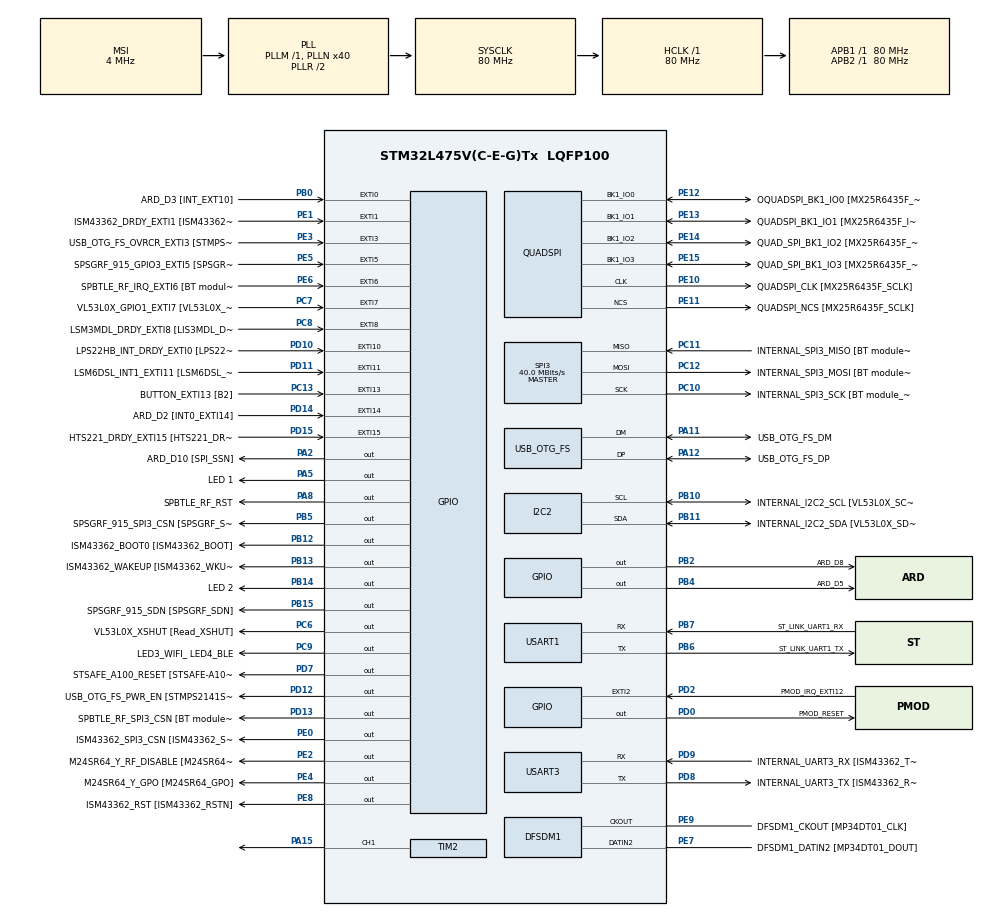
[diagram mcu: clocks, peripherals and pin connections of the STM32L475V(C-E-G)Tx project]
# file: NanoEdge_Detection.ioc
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Dma.Request0=TIM2_CH1
Dma.TIM2_CH1.0.Direction=DMA_MEMORY_TO_PERIPH
Dma.TIM2_CH1.0.Instance=DMA1_Channel5
Dma.TIM2_CH1.0.MemDataAlignment=DMA_MDATAALIGN_WORD
Dma.TIM2_CH1.0.MemInc=DMA_MINC_ENABLE
Dma.TIM2_CH1.0.Mode=DMA_NORMAL
Dma.TIM2_CH1.0.PeriphDataAlignment=DMA_PDATAALIGN_WORD
Dma.TIM2_CH1.0.PeriphInc=DMA_PINC_DISABLE
Dma.TIM2_CH1.0.Priority=DMA_PRIORITY_LOW
I2C2.Timing=0x10D19CE4
Mcu.Family=STM32L4
Mcu.Name=STM32L475V(C-E-G)Tx
Mcu.Package=LQFP100
NVIC.DMA1_Channel5_IRQn=true\:0\:0\:false\:false\:true\:false\:true\:true
NVIC.EXTI15_10_IRQn=true\:0\:0\:false\:false\:true\:true\:true\:true
NVIC.EXTI9_5_IRQn=true\:0\:0\:false\:false\:true\:true\:true\:true
NVIC.PriorityGroup=NVIC_PRIORITYGROUP_4
PA0.GPIO_Label=ARD_D1 [UART4_TX]
PA0.Signal=UART4_TX
PA1.GPIO_Label=ARD_D0 [UART4_RX]
PA1.Signal=UART4_RX
PA10.GPIO_Label=USB_OTG_FS_ID
PA10.Signal=USB_OTG_FS_ID
PA11.GPIO_Label=USB_OTG_FS_DM
PA11.Mode=Device_Only
PA11.Signal=USB_OTG_FS_DM
PA12.GPIO_Label=USB_OTG_FS_DP
PA12.Mode=Device_Only
PA12.Signal=USB_OTG_FS_DP
PA13\ (JTMS-SWDIO).GPIO_Label=SYS_JTMS_SWDIO
PA13\ (JTMS-SWDIO).Mode=Serial_Wire
PA13\ (JTMS-SWDIO).Signal=SYS_JTMS-SWDIO
PA14\ (JTCK-SWCLK).GPIO_Label=SYS_JTCK_SWCLK
PA14\ (JTCK-SWCLK).Mode=Serial_Wire
PA14\ (JTCK-SWCLK).Signal=SYS_JTCK-SWCLK
PA15\ (JTDI).Signal=S_TIM2_CH1
PA2.GPIO_Label=ARD_D10 [SPI_SSN]
PA2.Signal=GPIO_Output
PA3.GPIO_Label=ARD_D4
PA3.Signal=S_TIM2_CH4
PA4.GPIO_Label=ARD_D7
PA4.Signal=ADCx_IN9
PA5.GPIO_Label=LED 1
PA5.Signal=GPIO_Output
PA6.GPIO_Label=ARD_D12 [SPI1_MISO]
PA6.Signal=SPI1_MISO
PA7.GPIO_Label=ARD_D11 [SPI1_MOSI]
PA7.Signal=SPI1_MOSI
PA8.GPIO_Label=SPBTLE_RF_RST
PA8.Signal=GPIO_Output
PA9.GPIO_Label=USB_OTG_FS_VBUS [STMPS2141STR_OUT]
PA9.Signal=USB_OTG_FS_VBUS
PB0.GPIO_Label=ARD_D3 [INT_EXT10]
PB0.Signal=GPXTI0
PB1.GPIO_Label=ARD_D6 [ADC1_IN6]
PB1.Signal=ADCx_IN16
PB10.GPIO_Label=INTERNAL_I2C2_SCL [VL53L0X_SCL]
PB10.GPIO_Pu=GPIO_PULLUP
PB10.Mode=I2C
PB10.Signal=I2C2_SCL
PB11.GPIO_Label=INTERNAL_I2C2_SDA [VL53L0X_SDA]
PB11.GPIO_Pu=GPIO_PULLUP
PB11.Mode=I2C
PB11.Signal=I2C2_SDA
PB12.GPIO_Label=ISM43362_BOOT0 [ISM43362_BOOT]
PB12.Signal=GPIO_Output
PB13.GPIO_Label=ISM43362_WAKEUP [ISM43362_WKUP]
PB13.Signal=GPIO_Output
PB14.GPIO_Label=LED 2
PB14.Signal=GPIO_Output
PB15.GPIO_Label=SPSGRF_915_SDN [SPSGRF_SDN]
PB15.Signal=GPIO_Output
PB2.GPIO_Label=ARD_D8
PB2.Signal=GPIO_Output
PB3\ (JTDO-TRACESWO).GPIO_Label=SYS_JTD0_SWO
PB3\ (JTDO-TRACESWO).Signal=SYS_JTDO-SWO
PB4\ (NJTRST).GPIO_Label=ARD_D5
PB4\ (NJTRST).Signal=GPIO_Output
PB5.GPIO_Label=SPSGRF_915_SPI3_CSN [SPSGRF_SPI_CS]
PB5.PinState=GPIO_PIN_SET
PB5.Signal=GPIO_Output
PB6.GPIO_Label=ST_LINK_UART1_TX
PB6.Mode=Asynchronous
PB6.Signal=USART1_TX
PB7.GPIO_Label=ST_LINK_UART1_RX
PB7.Mode=Asynchronous
PB7.Signal=USART1_RX
PB8.GPIO_Label=ARD_D15 [I2C1_SCL]
PB8.Signal=I2C1_SCL
PB9.GPIO_Label=ARD_D14 [I2C1_SDA]
PB9.Signal=I2C1_SDA
PC0.GPIO_Label=ARD_A5 [ADC]
PC0.Signal=ADCx_IN1
PC1.GPIO_Label=ARD_A4 [ADC]
PC1.Signal=ADCx_IN2
PC10.GPIO_Label=INTERNAL_SPI3_SCK [BT module_SPI_SCLK] [ISM43362_SCK]
PC10.Mode=Full_Duplex_Master
PC10.Signal=SPI3_SCK
PC11.GPIO_Label=INTERNAL_SPI3_MISO [BT module_SPI_MISO] [ISM43362_MISO]
PC11.Mode=Full_Duplex_Master
PC11.Signal=SPI3_MISO
PC12.GPIO_Label=INTERNAL_SPI3_MOSI [BT module_SPI_MOSI] [ISM43362_MOSI]
PC12.Mode=Full_Duplex_Master
PC12.Signal=SPI3_MOSI
PC13.GPIO_Label=BUTTON_EXTI13 [B2]
PC13.GPIO_ModeDefaultEXTI=GPIO_MODE_IT_FALLING
PC13.Signal=GPXTI13
PC14-OSC32_IN\ (PC14).Mode=LSE-External-Oscillator
PC14-OSC32_IN\ (PC14).Signal=RCC_OSC32_IN
PC15-OSC32_OUT\ (PC15).Mode=LSE-External-Oscillator
PC15-OSC32_OUT\ (PC15).Signal=RCC_OSC32_OUT
PC2.GPIO_Label=ARD_A3 [ADC]
PC2.Signal=ADCx_IN3
PC3.GPIO_Label=ARD_A2 [ADC]
PC3.Signal=ADCx_IN4
PC4.GPIO_Label=ARD_A1 [ADC]
PC4.Signal=ADCx_IN13
PC5.GPIO_Label=ARD_A0 [ADC]
PC5.Signal=ADCx_IN14
PC6.GPIO_Label=VL53L0X_XSHUT [Read_XSHUT]
PC6.Signal=GPIO_Output
PC7.GPIO_Label=VL53L0X_GPIO1_EXTI7 [VL53L0X_GPIO1]
PC7.Signal=GPXTI7
PC8.GPIO_Label=LSM3MDL_DRDY_EXTI8 [LIS3MDL_DRDY]
PC8.Signal=GPXTI8
PC9.GPIO_Label=LED3_WIFI_ LED4_BLE
PC9.Signal=GPIO_Output
PD0.GPIO_Label=PMOD_RESET
PD0.Signal=GPIO_Output
PD1.GPIO_Label=PMOD_SPI2_SCK
PD1.Signal=SPI2_SCK
PD10.GPIO_Label=LPS22HB_INT_DRDY_EXTI0 [LPS22HB_INT_DRDY] 
PD10.Signal=GPXTI10
PD11.GPIO_Label=LSM6DSL_INT1_EXTI11 [LSM6DSL_INT1]
PD11.Signal=GPXTI11
PD12.GPIO_Label=USB_OTG_FS_PWR_EN [STMPS2141STR_EN]
PD12.Signal=GPIO_Output
PD13.GPIO_Label=SPBTLE_RF_SPI3_CSN [BT module_SPI_CS]
PD13.PinState=GPIO_PIN_SET
PD13.Signal=GPIO_Output
PD14.GPIO_Label=ARD_D2 [INT0_EXTI14]
PD14.Signal=GPXTI14
PD15.GPIO_Label=HTS221_DRDY_EXTI15 [HTS221_DRDY]
PD15.Signal=GPXTI15
PD2.GPIO_Label=PMOD_IRQ_EXTI12
PD2.Signal=GPXTI2
PD3.GPIO_Label=PMOD_UART2_CTS
PD3.Signal=USART2_CTS
PD4.GPIO_Label=PMOD_UART2_RTS
PD4.Signal=USART2_RTS
PD5.GPIO_Label=PMOD_UART2_TX
PD5.Signal=USART2_TX
PD6.GPIO_Label=PMOD_UART2_RX
PD6.Signal=USART2_RX
PD7.GPIO_Label=STSAFE_A100_RESET [STSAFE-A100_RESET]
PD7.Signal=GPIO_Output
PD8.GPIO_Label=INTERNAL_UART3_TX [ISM43362_RX]
PD8.Mode=Asynchronous
PD8.Signal=USART3_TX
PD9.GPIO_Label=INTERNAL_UART3_RX [ISM43362_TX]
PD9.Mode=Asynchronous
PD9.Signal=USART3_RX
PE0.GPIO_Label=ISM43362_SPI3_CSN [ISM43362_SSN]
PE0.PinState=GPIO_PIN_SET
PE0.Signal=GPIO_Output
PE1.GPIO_Label=ISM43362_DRDY_EXTI1 [ISM43362_DATARDY]
PE1.Signal=GPXTI1
PE10.GPIO_Label=QUADSPI_CLK [MX25R6435F_SCLK]
PE10.Mode=Single Bank
PE10.Signal=QUADSPI_CLK
PE11.GPIO_Label=QUADSPI_NCS [MX25R6435F_SCLK]
PE11.Mode=Single Bank
PE11.Signal=QUADSPI_NCS
PE12.GPIO_Label=OQUADSPI_BK1_IO0 [MX25R6435F_IO0]
PE12.Mode=Single Bank
PE12.Signal=QUADSPI_BK1_IO0
PE13.GPIO_Label=QUADSPI_BK1_IO1 [MX25R6435F_IO1]
PE13.Mode=Single Bank
PE13.Signal=QUADSPI_BK1_IO1
PE14.GPIO_Label=QUAD_SPI_BK1_IO2 [MX25R6435F_IO2]
PE14.Mode=Single Bank
PE14.Signal=QUADSPI_BK1_IO2
PE15.GPIO_Label=QUAD_SPI_BK1_IO3 [MX25R6435F_IO3]
PE15.Mode=Single Bank
PE15.Signal=QUADSPI_BK1_IO3
PE2.GPIO_Label=M24SR64_Y_RF_DISABLE [M24SR64_RFDIS]
PE2.Signal=GPIO_Output
PE3.GPIO_Label=USB_OTG_FS_OVRCR_EXTI3 [STMPS2141STR_FAULT]
PE3.Signal=GPXTI3
PE4.GPIO_Label=M24SR64_Y_GPO [M24SR64_GPO]
PE4.Signal=GPIO_Output
PE5.GPIO_Label=SPSGRF_915_GPIO3_EXTI5 [SPSGRF_GPIO_3]
PE5.Signal=GPXTI5
PE6.GPIO_Label=SPBTLE_RF_IRQ_EXTI6 [BT module_SPI_IRQ]
PE6.Signal=GPXTI6
PE7.GPIO_Label=DFSDM1_DATIN2 [MP34DT01_DOUT]
PE7.Signal=S_DATAIN2DFSDM1
PE8.GPIO_Label=ISM43362_RST [ISM43362_RSTN]
PE8.Signal=GPIO_Output
PE9.GPIO_Label=DFSDM1_CKOUT [MP34DT01_CLK]
PE9.Signal=S_CKOUTDFSDM1
ProjectManager.HeapSize=0x200
ProjectManager.StackSize=0x400
ProjectManager.TargetToolchain=STM32CubeIDE
QUADSPI.ClockPrescaler=2
QUADSPI.FifoThreshold=4
QUADSPI.FlashSize=23
QUADSPI.SampleShifting=QSPI_SAMPLE_SHIFTING_HALFCYCLE
RCC.ADCFreq_Value=48000000
RCC.AHBFreq_Value=80000000
RCC.APB1Freq_Value=80000000
RCC.APB1TimFreq_Value=80000000
RCC.APB2Freq_Value=80000000
RCC.APB2TimFreq_Value=80000000
RCC.CortexFreq_Value=80000000
RCC.HCLKFreq_Value=80000000
RCC.HSE_VALUE=8000000
RCC.HSI_VALUE=16000000
RCC.MSI_VALUE=4000000
RCC.PLLN=40
RCC.PLLSAI1N=24
RCC.SYSCLKFreq_VALUE=80000000
RCC.SYSCLKSource=RCC_SYSCLKSOURCE_PLLCLK
RCC.USBFreq_Value=48000000
RCC.VCOOutputFreq_Value=160000000
SH.ADCx_IN1.0=ADC1_IN1
SH.ADCx_IN13.0=ADC1_IN13
SH.ADCx_IN14.0=ADC1_IN14
SH.ADCx_IN16.0=ADC1_IN16
SH.ADCx_IN2.0=ADC1_IN2
SH.ADCx_IN3.0=ADC1_IN3
SH.ADCx_IN4.0=ADC1_IN4
SH.ADCx_IN9.0=ADC1_IN9
SH.S_CKOUTDFSDM1.0=DFSDM1_CKOUT,CKOUT
SH.S_CKOUTDFSDM1.1=DFSDM1_CKOUT,PDM_SPI_Input_from_ch12_and_Internal_Clock
SH.S_DATAIN2DFSDM1.0=DFSDM1_DATIN2,PDM_SPI_Input_from_ch12_and_Internal_Clock
SH.S_TIM2_CH1.0=TIM2_CH1,PWM Generation1 CH1
SH.S_TIM2_CH4.0=TIM2_CH4
SPI3.CalculateBaudRate=40.0 MBits/s
SPI3.Direction=SPI_DIRECTION_2LINES
SPI3.Mode=SPI_MODE_MASTER
SPI3.VirtualType=VM_MASTER
TIM2.Channel-PWM\ Generation1\ CH1=TIM_CHANNEL_1
TIM2.Period=100
USART1.VirtualMode-Asynchronous=VM_ASYNC
USART3.VirtualMode-Asynchronous=VM_ASYNC
USB_OTG_FS.VirtualMode=Device_Only
board=B-L475E-IOT01A1

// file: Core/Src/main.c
/* USER CODE BEGIN Header */
/**
  ******************************************************************************
  * @file           : main.c
  * @brief          : Main program body
  ******************************************************************************
  * @attention
  *
  * Copyright (c) 2025 STMicroelectronics.
  * All rights reserved.
  *
  * This software is licensed under terms that can be found in the LICENSE file
  * in the root directory of this software component.
  * If no LICENSE file comes with this software, it is provided AS-IS.
  *
  ******************************************************************************
  */
/* USER CODE END Header */
#include "main.h"

/* USER CODE BEGIN Includes */
#include <string.h>
#include <stdio.h>
#include "LSM6DSL.h"
#include "NanoEdgeAI.h"
#include "WS2812.h"
/* USER CODE END Includes */

DFSDM_Channel_HandleTypeDef hdfsdm1_channel1;

I2C_HandleTypeDef hi2c2;

QSPI_HandleTypeDef hqspi;

SPI_HandleTypeDef hspi3;

TIM_HandleTypeDef htim2;
DMA_HandleTypeDef hdma_tim2_ch1;

UART_HandleTypeDef huart1;
UART_HandleTypeDef huart3;

PCD_HandleTypeDef hpcd_USB_OTG_FS;

void SystemClock_Config(void);
static void MX_GPIO_Init(void);
static void MX_DMA_Init(void);
static void MX_DFSDM1_Init(void);
static void MX_I2C2_Init(void);
static void MX_QUADSPI_Init(void);
static void MX_SPI3_Init(void);
static void MX_USART1_UART_Init(void);
static void MX_USART3_UART_Init(void);
static void MX_USB_OTG_FS_PCD_Init(void);
static void MX_TIM2_Init(void);

/* USER CODE BEGIN 0 */
#define LEARNING_ITERATIONS 20
float input_user_buffer[DATA_INPUT_USER * AXIS_NUMBER];

void fill_buffer(float input_buffer[]){
	uint16_t  i;
	for(i=0; i< DATA_INPUT_USER; i++){
		while(!LSM6DSL_DataReady());

		LSM6DSL_ReadAccel(&input_buffer[AXIS_NUMBER * i]);
	}
}
/* USER CODE END 0 */

int main(void)
{

  /* MCU Configuration--------------------------------------------------------*/

  /* Reset of all peripherals, Initializes the Flash interface and the Systick. */
  HAL_Init();

  /* Configure the system clock */
  SystemClock_Config();

  /* Initialize all configured peripherals */
  MX_GPIO_Init();
  MX_DMA_Init();
  MX_DFSDM1_Init();
  MX_I2C2_Init();
  MX_QUADSPI_Init();
  MX_SPI3_Init();
  MX_USART1_UART_Init();
  MX_USART3_UART_Init();
  MX_USB_OTG_FS_PCD_Init();
  MX_TIM2_Init();
  /* USER CODE BEGIN 2 */
  LSM6DSL_Init();

  /* Initialization ------------------------------------------------------------*/
  	enum neai_state error_code = neai_anomalydetection_init();
  	uint8_t similarity = 0;

  	if (error_code != NEAI_OK) {
  		/* This happens if the library works into a not supported board. */
  	}

  	WS2812_Clear_LED();

  	WS2812_Update();

  	/* Learning process ----------------------------------------------------------*/
  	for (uint16_t iteration = 0 ; iteration < LEARNING_ITERATIONS ; iteration++) {
  		fill_buffer(input_user_buffer);
  		neai_anomalydetection_learn(input_user_buffer);

  	  	WS2812_Clear_LED();
  	  	WS2812_Set_LED(iteration%6, 0, 0, 255);
  	  	WS2812_Update();
  	}

  /* USER CODE END 2 */

  /* Infinite loop */
  while (1)
  {

    /* USER CODE BEGIN 3 */
//	  float acc[3];

//		  for(uint16_t i = 0; i<=64; i++){
//			  while(!LSM6DSL_DataReady());
//		  	  LSM6DSL_ReadAccel(acc);
//
//		  	  printf("%.3f %.3f %.3f ", acc[0], acc[1], acc[2]);
//		  }
//		  printf("\r\n");

	  fill_buffer(input_user_buffer);
	  neai_anomalydetection_detect(input_user_buffer, &similarity);

	  if(similarity<90){
		  printf("---> Abnormal: %d\r\n", similarity);

		  WS2812_Clear_LED();
		  WS2812_Set_All_LED(141, 132, 133);
		  WS2812_Update();

	  }else{
		  printf("Regular: %d\r\n", similarity);

		  WS2812_Clear_LED();
		  WS2812_Set_All_LED( 230, 230, 250);
		  WS2812_Update();
	  }
  }
  /* USER CODE END 3 */
}

void SystemClock_Config(void)
{
  RCC_OscInitTypeDef RCC_OscInitStruct = {0};
  RCC_ClkInitTypeDef RCC_ClkInitStruct = {0};

  /** Configure the main internal regulator output voltage
  */
  if (HAL_PWREx_ControlVoltageScaling(PWR_REGULATOR_VOLTAGE_SCALE1) != HAL_OK)
  {
    Error_Handler();
  }

  /** Configure LSE Drive Capability
  */
  HAL_PWR_EnableBkUpAccess();
  __HAL_RCC_LSEDRIVE_CONFIG(RCC_LSEDRIVE_LOW);

  /** Initializes the RCC Oscillators according to the specified parameters
  * in the RCC_OscInitTypeDef structure.
  */
  RCC_OscInitStruct.OscillatorType = RCC_OSCILLATORTYPE_LSE|RCC_OSCILLATORTYPE_MSI;
  RCC_OscInitStruct.LSEState = RCC_LSE_ON;
  RCC_OscInitStruct.MSIState = RCC_MSI_ON;
  RCC_OscInitStruct.MSICalibrationValue = 0;
  RCC_OscInitStruct.MSIClockRange = RCC_MSIRANGE_6;
  RCC_OscInitStruct.PLL.PLLState = RCC_PLL_ON;
  RCC_OscInitStruct.PLL.PLLSource = RCC_PLLSOURCE_MSI;
  RCC_OscInitStruct.PLL.PLLM = 1;
  RCC_OscInitStruct.PLL.PLLN = 40;
  RCC_OscInitStruct.PLL.PLLP = RCC_PLLP_DIV7;
  RCC_OscInitStruct.PLL.PLLQ = RCC_PLLQ_DIV2;
  RCC_OscInitStruct.PLL.PLLR = RCC_PLLR_DIV2;
  if (HAL_RCC_OscConfig(&RCC_OscInitStruct) != HAL_OK)
  {
    Error_Handler();
  }

  /** Initializes the CPU, AHB and APB buses clocks
  */
  RCC_ClkInitStruct.ClockType = RCC_CLOCKTYPE_HCLK|RCC_CLOCKTYPE_SYSCLK
                              |RCC_CLOCKTYPE_PCLK1|RCC_CLOCKTYPE_PCLK2;
  RCC_ClkInitStruct.SYSCLKSource = RCC_SYSCLKSOURCE_PLLCLK;
  RCC_ClkInitStruct.AHBCLKDivider = RCC_SYSCLK_DIV1;
  RCC_ClkInitStruct.APB1CLKDivider = RCC_HCLK_DIV1;
  RCC_ClkInitStruct.APB2CLKDivider = RCC_HCLK_DIV1;

  if (HAL_RCC_ClockConfig(&RCC_ClkInitStruct, FLASH_LATENCY_4) != HAL_OK)
  {
    Error_Handler();
  }

  /** Enable MSI Auto calibration
  */
  HAL_RCCEx_EnableMSIPLLMode();
}

static void MX_DFSDM1_Init(void)
{

  hdfsdm1_channel1.Instance = DFSDM1_Channel1;
  hdfsdm1_channel1.Init.OutputClock.Activation = ENABLE;
  hdfsdm1_channel1.Init.OutputClock.Selection = DFSDM_CHANNEL_OUTPUT_CLOCK_SYSTEM;
  hdfsdm1_channel1.Init.OutputClock.Divider = 2;
  hdfsdm1_channel1.Init.Input.Multiplexer = DFSDM_CHANNEL_EXTERNAL_INPUTS;
  hdfsdm1_channel1.Init.Input.DataPacking = DFSDM_CHANNEL_STANDARD_MODE;
  hdfsdm1_channel1.Init.Input.Pins = DFSDM_CHANNEL_FOLLOWING_CHANNEL_PINS;
  hdfsdm1_channel1.Init.SerialInterface.Type = DFSDM_CHANNEL_SPI_RISING;
  hdfsdm1_channel1.Init.SerialInterface.SpiClock = DFSDM_CHANNEL_SPI_CLOCK_INTERNAL;
  hdfsdm1_channel1.Init.Awd.FilterOrder = DFSDM_CHANNEL_FASTSINC_ORDER;
  hdfsdm1_channel1.Init.Awd.Oversampling = 1;
  hdfsdm1_channel1.Init.Offset = 0;
  hdfsdm1_channel1.Init.RightBitShift = 0x00;
  if (HAL_DFSDM_ChannelInit(&hdfsdm1_channel1) != HAL_OK)
  {
    Error_Handler();
  }

}

static void MX_I2C2_Init(void)
{

  hi2c2.Instance = I2C2;
  hi2c2.Init.Timing = 0x10D19CE4;
  hi2c2.Init.OwnAddress1 = 0;
  hi2c2.Init.AddressingMode = I2C_ADDRESSINGMODE_7BIT;
  hi2c2.Init.DualAddressMode = I2C_DUALADDRESS_DISABLE;
  hi2c2.Init.OwnAddress2 = 0;
  hi2c2.Init.OwnAddress2Masks = I2C_OA2_NOMASK;
  hi2c2.Init.GeneralCallMode = I2C_GENERALCALL_DISABLE;
  hi2c2.Init.NoStretchMode = I2C_NOSTRETCH_DISABLE;
  if (HAL_I2C_Init(&hi2c2) != HAL_OK)
  {
    Error_Handler();
  }

  /** Configure Analogue filter
  */
  if (HAL_I2CEx_ConfigAnalogFilter(&hi2c2, I2C_ANALOGFILTER_ENABLE) != HAL_OK)
  {
    Error_Handler();
  }

  /** Configure Digital filter
  */
  if (HAL_I2CEx_ConfigDigitalFilter(&hi2c2, 0) != HAL_OK)
  {
    Error_Handler();
  }

}

static void MX_QUADSPI_Init(void)
{

  /* QUADSPI parameter configuration*/
  hqspi.Instance = QUADSPI;
  hqspi.Init.ClockPrescaler = 2;
  hqspi.Init.FifoThreshold = 4;
  hqspi.Init.SampleShifting = QSPI_SAMPLE_SHIFTING_HALFCYCLE;
  hqspi.Init.FlashSize = 23;
  hqspi.Init.ChipSelectHighTime = QSPI_CS_HIGH_TIME_1_CYCLE;
  hqspi.Init.ClockMode = QSPI_CLOCK_MODE_0;
  if (HAL_QSPI_Init(&hqspi) != HAL_OK)
  {
    Error_Handler();
  }

}

static void MX_SPI3_Init(void)
{

  /* SPI3 parameter configuration*/
  hspi3.Instance = SPI3;
  hspi3.Init.Mode = SPI_MODE_MASTER;
  hspi3.Init.Direction = SPI_DIRECTION_2LINES;
  hspi3.Init.DataSize = SPI_DATASIZE_4BIT;
  hspi3.Init.CLKPolarity = SPI_POLARITY_LOW;
  hspi3.Init.CLKPhase = SPI_PHASE_1EDGE;
  hspi3.Init.NSS = SPI_NSS_SOFT;
  hspi3.Init.BaudRatePrescaler = SPI_BAUDRATEPRESCALER_2;
  hspi3.Init.FirstBit = SPI_FIRSTBIT_MSB;
  hspi3.Init.TIMode = SPI_TIMODE_DISABLE;
  hspi3.Init.CRCCalculation = SPI_CRCCALCULATION_DISABLE;
  hspi3.Init.CRCPolynomial = 7;
  hspi3.Init.CRCLength = SPI_CRC_LENGTH_DATASIZE;
  hspi3.Init.NSSPMode = SPI_NSS_PULSE_ENABLE;
  if (HAL_SPI_Init(&hspi3) != HAL_OK)
  {
    Error_Handler();
  }

}

static void MX_TIM2_Init(void)
{

  TIM_MasterConfigTypeDef sMasterConfig = {0};
  TIM_OC_InitTypeDef sConfigOC = {0};

  htim2.Instance = TIM2;
  htim2.Init.Prescaler = 0;
  htim2.Init.CounterMode = TIM_COUNTERMODE_UP;
  htim2.Init.Period = 100;
  htim2.Init.ClockDivision = TIM_CLOCKDIVISION_DIV1;
  htim2.Init.AutoReloadPreload = TIM_AUTORELOAD_PRELOAD_DISABLE;
  if (HAL_TIM_PWM_Init(&htim2) != HAL_OK)
  {
    Error_Handler();
  }
  sMasterConfig.MasterOutputTrigger = TIM_TRGO_RESET;
  sMasterConfig.MasterSlaveMode = TIM_MASTERSLAVEMODE_DISABLE;
  if (HAL_TIMEx_MasterConfigSynchronization(&htim2, &sMasterConfig) != HAL_OK)
  {
    Error_Handler();
  }
  sConfigOC.OCMode = TIM_OCMODE_PWM1;
  sConfigOC.Pulse = 0;
  sConfigOC.OCPolarity = TIM_OCPOLARITY_HIGH;
  sConfigOC.OCFastMode = TIM_OCFAST_DISABLE;
  if (HAL_TIM_PWM_ConfigChannel(&htim2, &sConfigOC, TIM_CHANNEL_1) != HAL_OK)
  {
    Error_Handler();
  }
  HAL_TIM_MspPostInit(&htim2);

}

static void MX_USART1_UART_Init(void)
{

  huart1.Instance = USART1;
  huart1.Init.BaudRate = 115200;
  huart1.Init.WordLength = UART_WORDLENGTH_8B;
  huart1.Init.StopBits = UART_STOPBITS_1;
  huart1.Init.Parity = UART_PARITY_NONE;
  huart1.Init.Mode = UART_MODE_TX_RX;
  huart1.Init.HwFlowCtl = UART_HWCONTROL_NONE;
  huart1.Init.OverSampling = UART_OVERSAMPLING_16;
  huart1.Init.OneBitSampling = UART_ONE_BIT_SAMPLE_DISABLE;
  huart1.AdvancedInit.AdvFeatureInit = UART_ADVFEATURE_NO_INIT;
  if (HAL_UART_Init(&huart1) != HAL_OK)
  {
    Error_Handler();
  }

}

static void MX_USART3_UART_Init(void)
{

  huart3.Instance = USART3;
  huart3.Init.BaudRate = 115200;
  huart3.Init.WordLength = UART_WORDLENGTH_8B;
  huart3.Init.StopBits = UART_STOPBITS_1;
  huart3.Init.Parity = UART_PARITY_NONE;
  huart3.Init.Mode = UART_MODE_TX_RX;
  huart3.Init.HwFlowCtl = UART_HWCONTROL_NONE;
  huart3.Init.OverSampling = UART_OVERSAMPLING_16;
  huart3.Init.OneBitSampling = UART_ONE_BIT_SAMPLE_DISABLE;
  huart3.AdvancedInit.AdvFeatureInit = UART_ADVFEATURE_NO_INIT;
  if (HAL_UART_Init(&huart3) != HAL_OK)
  {
    Error_Handler();
  }

}

static void MX_USB_OTG_FS_PCD_Init(void)
{

  hpcd_USB_OTG_FS.Instance = USB_OTG_FS;
  hpcd_USB_OTG_FS.Init.dev_endpoints = 6;
  hpcd_USB_OTG_FS.Init.speed = PCD_SPEED_FULL;
  hpcd_USB_OTG_FS.Init.phy_itface = PCD_PHY_EMBEDDED;
  hpcd_USB_OTG_FS.Init.Sof_enable = DISABLE;
  hpcd_USB_OTG_FS.Init.low_power_enable = DISABLE;
  hpcd_USB_OTG_FS.Init.lpm_enable = DISABLE;
  hpcd_USB_OTG_FS.Init.battery_charging_enable = DISABLE;
  hpcd_USB_OTG_FS.Init.use_dedicated_ep1 = DISABLE;
  hpcd_USB_OTG_FS.Init.vbus_sensing_enable = DISABLE;
  if (HAL_PCD_Init(&hpcd_USB_OTG_FS) != HAL_OK)
  {
    Error_Handler();
  }

}

static void MX_DMA_Init(void)
{

  /* DMA controller clock enable */
  __HAL_RCC_DMA1_CLK_ENABLE();

  /* DMA interrupt init */
  /* DMA1_Channel5_IRQn interrupt configuration */
  HAL_NVIC_SetPriority(DMA1_Channel5_IRQn, 0, 0);
  HAL_NVIC_EnableIRQ(DMA1_Channel5_IRQn);

}

static void MX_GPIO_Init(void)
{
  GPIO_InitTypeDef GPIO_InitStruct = {0};

  /* GPIO Ports Clock Enable */
  __HAL_RCC_GPIOE_CLK_ENABLE();
  __HAL_RCC_GPIOC_CLK_ENABLE();
  __HAL_RCC_GPIOA_CLK_ENABLE();
  __HAL_RCC_GPIOB_CLK_ENABLE();
  __HAL_RCC_GPIOD_CLK_ENABLE();

  /*Configure GPIO pin Output Level */
  HAL_GPIO_WritePin(GPIOE, M24SR64_Y_RF_DISABLE_Pin|M24SR64_Y_GPO_Pin|ISM43362_RST_Pin, GPIO_PIN_RESET);

  /*Configure GPIO pin Output Level */
  HAL_GPIO_WritePin(GPIOA, ARD_D10_Pin|LED_1_Pin|SPBTLE_RF_RST_Pin, GPIO_PIN_RESET);

  /*Configure GPIO pin Output Level */
  HAL_GPIO_WritePin(GPIOB, ARD_D8_Pin|ISM43362_BOOT0_Pin|ISM43362_WAKEUP_Pin|LED_2_Pin
                          |SPSGRF_915_SDN_Pin|ARD_D5_Pin, GPIO_PIN_RESET);

  /*Configure GPIO pin Output Level */
  HAL_GPIO_WritePin(GPIOD, USB_OTG_FS_PWR_EN_Pin|PMOD_RESET_Pin|STSAFE_A100_RESET_Pin, GPIO_PIN_RESET);

  /*Configure GPIO pin Output Level */
  HAL_GPIO_WritePin(SPBTLE_RF_SPI3_CSN_GPIO_Port, SPBTLE_RF_SPI3_CSN_Pin, GPIO_PIN_SET);

  /*Configure GPIO pin Output Level */
  HAL_GPIO_WritePin(GPIOC, VL53L0X_XSHUT_Pin|LED3_WIFI__LED4_BLE_Pin, GPIO_PIN_RESET);

  /*Configure GPIO pin Output Level */
  HAL_GPIO_WritePin(SPSGRF_915_SPI3_CSN_GPIO_Port, SPSGRF_915_SPI3_CSN_Pin, GPIO_PIN_SET);

  /*Configure GPIO pin Output Level */
  HAL_GPIO_WritePin(ISM43362_SPI3_CSN_GPIO_Port, ISM43362_SPI3_CSN_Pin, GPIO_PIN_SET);

  /*Configure GPIO pins : M24SR64_Y_RF_DISABLE_Pin M24SR64_Y_GPO_Pin ISM43362_RST_Pin ISM43362_SPI3_CSN_Pin */
  GPIO_InitStruct.Pin = M24SR64_Y_RF_DISABLE_Pin|M24SR64_Y_GPO_Pin|ISM43362_RST_Pin|ISM43362_SPI3_CSN_Pin;
  GPIO_InitStruct.Mode = GPIO_MODE_OUTPUT_PP;
  GPIO_InitStruct.Pull = GPIO_NOPULL;
  GPIO_InitStruct.Speed = GPIO_SPEED_FREQ_LOW;
  HAL_GPIO_Init(GPIOE, &GPIO_InitStruct);

  /*Configure GPIO pins : USB_OTG_FS_OVRCR_EXTI3_Pin SPSGRF_915_GPIO3_EXTI5_Pin SPBTLE_RF_IRQ_EXTI6_Pin ISM43362_DRDY_EXTI1_Pin */
  GPIO_InitStruct.Pin = USB_OTG_FS_OVRCR_EXTI3_Pin|SPSGRF_915_GPIO3_EXTI5_Pin|SPBTLE_RF_IRQ_EXTI6_Pin|ISM43362_DRDY_EXTI1_Pin;
  GPIO_InitStruct.Mode = GPIO_MODE_IT_RISING;
  GPIO_InitStruct.Pull = GPIO_NOPULL;
  HAL_GPIO_Init(GPIOE, &GPIO_InitStruct);

  /*Configure GPIO pin : BUTTON_EXTI13_Pin */
  GPIO_InitStruct.Pin = BUTTON_EXTI13_Pin;
  GPIO_InitStruct.Mode = GPIO_MODE_IT_FALLING;
  GPIO_InitStruct.Pull = GPIO_NOPULL;
  HAL_GPIO_Init(BUTTON_EXTI13_GPIO_Port, &GPIO_InitStruct);

  /*Configure GPIO pins : ARD_A5_Pin ARD_A4_Pin ARD_A3_Pin ARD_A2_Pin
                           ARD_A1_Pin ARD_A0_Pin */
  GPIO_InitStruct.Pin = ARD_A5_Pin|ARD_A4_Pin|ARD_A3_Pin|ARD_A2_Pin
                          |ARD_A1_Pin|ARD_A0_Pin;
  GPIO_InitStruct.Mode = GPIO_MODE_ANALOG_ADC_CONTROL;
  GPIO_InitStruct.Pull = GPIO_NOPULL;
  HAL_GPIO_Init(GPIOC, &GPIO_InitStruct);

  /*Configure GPIO pins : ARD_D1_Pin ARD_D0_Pin */
  GPIO_InitStruct.Pin = ARD_D1_Pin|ARD_D0_Pin;
  GPIO_InitStruct.Mode = GPIO_MODE_AF_PP;
  GPIO_InitStruct.Pull = GPIO_NOPULL;
  GPIO_InitStruct.Speed = GPIO_SPEED_FREQ_VERY_HIGH;
  GPIO_InitStruct.Alternate = GPIO_AF8_UART4;
  HAL_GPIO_Init(GPIOA, &GPIO_InitStruct);

  /*Configure GPIO pins : ARD_D10_Pin LED_1_Pin SPBTLE_RF_RST_Pin */
  GPIO_InitStruct.Pin = ARD_D10_Pin|LED_1_Pin|SPBTLE_RF_RST_Pin;
  GPIO_InitStruct.Mode = GPIO_MODE_OUTPUT_PP;
  GPIO_InitStruct.Pull = GPIO_NOPULL;
  GPIO_InitStruct.Speed = GPIO_SPEED_FREQ_LOW;
  HAL_GPIO_Init(GPIOA, &GPIO_InitStruct);

  /*Configure GPIO pin : ARD_D7_Pin */
  GPIO_InitStruct.Pin = ARD_D7_Pin;
  GPIO_InitStruct.Mode = GPIO_MODE_ANALOG_ADC_CONTROL;
  GPIO_InitStruct.Pull = GPIO_NOPULL;
  HAL_GPIO_Init(ARD_D7_GPIO_Port, &GPIO_InitStruct);

  /*Configure GPIO pins : ARD_D12_Pin ARD_D11_Pin */
  GPIO_InitStruct.Pin = ARD_D12_Pin|ARD_D11_Pin;
  GPIO_InitStruct.Mode = GPIO_MODE_AF_PP;
  GPIO_InitStruct.Pull = GPIO_NOPULL;
  GPIO_InitStruct.Speed = GPIO_SPEED_FREQ_VERY_HIGH;
  GPIO_InitStruct.Alternate = GPIO_AF5_SPI1;
  HAL_GPIO_Init(GPIOA, &GPIO_InitStruct);

  /*Configure GPIO pin : ARD_D3_Pin */
  GPIO_InitStruct.Pin = ARD_D3_Pin;
  GPIO_InitStruct.Mode = GPIO_MODE_IT_RISING;
  GPIO_InitStruct.Pull = GPIO_NOPULL;
  HAL_GPIO_Init(ARD_D3_GPIO_Port, &GPIO_InitStruct);

  /*Configure GPIO pin : ARD_D6_Pin */
  GPIO_InitStruct.Pin = ARD_D6_Pin;
  GPIO_InitStruct.Mode = GPIO_MODE_ANALOG_ADC_CONTROL;
  GPIO_InitStruct.Pull = GPIO_NOPULL;
  HAL_GPIO_Init(ARD_D6_GPIO_Port, &GPIO_InitStruct);

  /*Configure GPIO pins : ARD_D8_Pin ISM43362_BOOT0_Pin ISM43362_WAKEUP_Pin LED_2_Pin
                           SPSGRF_915_SDN_Pin ARD_D5_Pin SPSGRF_915_SPI3_CSN_Pin */
  GPIO_InitStruct.Pin = ARD_D8_Pin|ISM43362_BOOT0_Pin|ISM43362_WAKEUP_Pin|LED_2_Pin
                          |SPSGRF_915_SDN_Pin|ARD_D5_Pin|SPSGRF_915_SPI3_CSN_Pin;
  GPIO_InitStruct.Mode = GPIO_MODE_OUTPUT_PP;
  GPIO_InitStruct.Pull = GPIO_NOPULL;
  GPIO_InitStruct.Speed = GPIO_SPEED_FREQ_LOW;
  HAL_GPIO_Init(GPIOB, &GPIO_InitStruct);

  /*Configure GPIO pins : LPS22HB_INT_DRDY_EXTI0_Pin LSM6DSL_INT1_EXTI11_Pin ARD_D2_Pin HTS221_DRDY_EXTI15_Pin
                           PMOD_IRQ_EXTI12_Pin */
  GPIO_InitStruct.Pin = LPS22HB_INT_DRDY_EXTI0_Pin|LSM6DSL_INT1_EXTI11_Pin|ARD_D2_Pin|HTS221_DRDY_EXTI15_Pin
                          |PMOD_IRQ_EXTI12_Pin;
  GPIO_InitStruct.Mode = GPIO_MODE_IT_RISING;
  GPIO_InitStruct.Pull = GPIO_NOPULL;
  HAL_GPIO_Init(GPIOD, &GPIO_InitStruct);

  /*Configure GPIO pins : USB_OTG_FS_PWR_EN_Pin SPBTLE_RF_SPI3_CSN_Pin PMOD_RESET_Pin STSAFE_A100_RESET_Pin */
  GPIO_InitStruct.Pin = USB_OTG_FS_PWR_EN_Pin|SPBTLE_RF_SPI3_CSN_Pin|PMOD_RESET_Pin|STSAFE_A100_RESET_Pin;
  GPIO_InitStruct.Mode = GPIO_MODE_OUTPUT_PP;
  GPIO_InitStruct.Pull = GPIO_NOPULL;
  GPIO_InitStruct.Speed = GPIO_SPEED_FREQ_LOW;
  HAL_GPIO_Init(GPIOD, &GPIO_InitStruct);

  /*Configure GPIO pins : VL53L0X_XSHUT_Pin LED3_WIFI__LED4_BLE_Pin */
  GPIO_InitStruct.Pin = VL53L0X_XSHUT_Pin|LED3_WIFI__LED4_BLE_Pin;
  GPIO_InitStruct.Mode = GPIO_MODE_OUTPUT_PP;
  GPIO_InitStruct.Pull = GPIO_NOPULL;
  GPIO_InitStruct.Speed = GPIO_SPEED_FREQ_LOW;
  HAL_GPIO_Init(GPIOC, &GPIO_InitStruct);

  /*Configure GPIO pins : VL53L0X_GPIO1_EXTI7_Pin LSM3MDL_DRDY_EXTI8_Pin */
  GPIO_InitStruct.Pin = VL53L0X_GPIO1_EXTI7_Pin|LSM3MDL_DRDY_EXTI8_Pin;
  GPIO_InitStruct.Mode = GPIO_MODE_IT_RISING;
  GPIO_InitStruct.Pull = GPIO_NOPULL;
  HAL_GPIO_Init(GPIOC, &GPIO_InitStruct);

  /*Configure GPIO pin : PMOD_SPI2_SCK_Pin */
  GPIO_InitStruct.Pin = PMOD_SPI2_SCK_Pin;
  GPIO_InitStruct.Mode = GPIO_MODE_AF_PP;
  GPIO_InitStruct.Pull = GPIO_NOPULL;
  GPIO_InitStruct.Speed = GPIO_SPEED_FREQ_VERY_HIGH;
  GPIO_InitStruct.Alternate = GPIO_AF5_SPI2;
  HAL_GPIO_Init(PMOD_SPI2_SCK_GPIO_Port, &GPIO_InitStruct);

  /*Configure GPIO pins : PMOD_UART2_CTS_Pin PMOD_UART2_RTS_Pin PMOD_UART2_TX_Pin PMOD_UART2_RX_Pin */
  GPIO_InitStruct.Pin = PMOD_UART2_CTS_Pin|PMOD_UART2_RTS_Pin|PMOD_UART2_TX_Pin|PMOD_UART2_RX_Pin;
  GPIO_InitStruct.Mode = GPIO_MODE_AF_PP;
  GPIO_InitStruct.Pull = GPIO_NOPULL;
  GPIO_InitStruct.Speed = GPIO_SPEED_FREQ_VERY_HIGH;
  GPIO_InitStruct.Alternate = GPIO_AF7_USART2;
  HAL_GPIO_Init(GPIOD, &GPIO_InitStruct);

  /*Configure GPIO pins : ARD_D15_Pin ARD_D14_Pin */
  GPIO_InitStruct.Pin = ARD_D15_Pin|ARD_D14_Pin;
  GPIO_InitStruct.Mode = GPIO_MODE_AF_OD;
  GPIO_InitStruct.Pull = GPIO_NOPULL;
  GPIO_InitStruct.Speed = GPIO_SPEED_FREQ_VERY_HIGH;
  GPIO_InitStruct.Alternate = GPIO_AF4_I2C1;
  HAL_GPIO_Init(GPIOB, &GPIO_InitStruct);

  /* EXTI interrupt init*/
  HAL_NVIC_SetPriority(EXTI9_5_IRQn, 0, 0);
  HAL_NVIC_EnableIRQ(EXTI9_5_IRQn);

  HAL_NVIC_SetPriority(EXTI15_10_IRQn, 0, 0);
  HAL_NVIC_EnableIRQ(EXTI15_10_IRQn);

}

/* USER CODE BEGIN 4 */
int __io_putchar(int ch)
{
	uint8_t c[1];
	c[0] = ch & 0x00FF;
	HAL_UART_Transmit(&huart1, &*c, 1, 10);
	return ch;
}
/* USER CODE END 4 */

void Error_Handler(void)
{
  __disable_irq();
  while (1)
  {
  }
}
